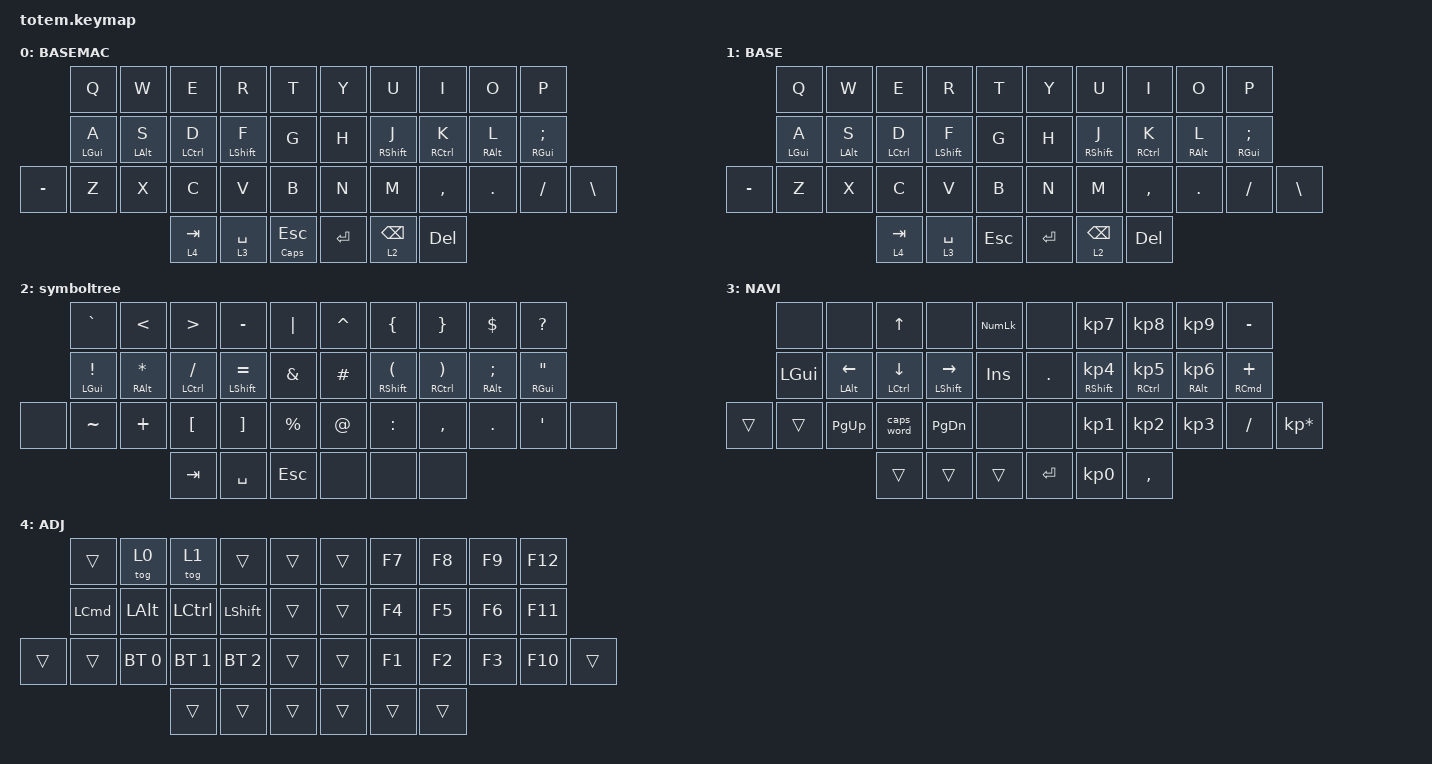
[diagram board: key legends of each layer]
//
//                                                        ▀▀▀▀▀     ▀▀▀▀▀          ▀▀█▀▀
//                                                        ▄▀▀▀▄  ▄  ▄▀▀▀▄  ▄  ▄▀▀▀▄  █  ▄▀▀▀▄
//                                                        █   █  █  █   █  █  █   █  █  █   █
//                                                         ▀▀▀   █   ▀▀▀   █   ▀▀▀   ▀   ▀▀▀
//                                                               █      ▄▄▄█▄▄▄    █   █  
//                                                               ▀      █  █  █     █▄█
//                                                             ▀▀▀▀▀    █  █  █      ▀
//                                                                      ▀  ▀  ▀
//
// ▄▄▄▄▄▄▄▄▄▄▄▄▄▄▄▄▄▄▄▄▄▄▄▄▄▄▄▄▄▄▄▄▄▄▄▄▄▄▄▄▄▄▄▄▄▄▄▄▄▄▄▄▄▄▄▄▄▄▄▄▄▄▄▄▄▄▄▄▄▄▄▄▄▄▄▄▄▄▄▄▄▄▄▄▄▄▄▄▄▄▄▄▄▄▄▄▄▄▄▄▄▄▄▄▄▄▄▄▄▄▄▄▄▄▄▄▄▄▄▄▄▄▄▄▄▄▄▄▄▄▄▄▄▄▄▄▄▄▄▄▄▄▄▄▄▄▄▄▄

#include <behaviors.dtsi>
#include <dt-bindings/zmk/bt.h>
#include <dt-bindings/zmk/keys.h>

#define BASE 0
#define NAV  1
#define SYM  2
#define ADJ  3
#define TVP1 4
#define TVP2 5

&mt {
    quick-tap-ms = <175>;
    global-quick-tap;
    flavor = "balanced";
    tapping-term-ms = <280>;
    require-prior-idle-ms = <150>;
};

&lt { flavor = "hold-preferred"; };

/ {
    combos {
        compatible = "zmk,combos";

        copyy {
            bindings = <&copys>;
            key-positions = <22 23>;
            layers = <0>;
        };

        ppaste {
            bindings = <&pastes>;
            key-positions = <23 24>;
            layers = <0>;
        };

        windcop {
            bindings = <&copWInd>;
            key-positions = <22 23>;
            layers = <1>;
        };

        dinpst {
            bindings = <&pstWind>;
            key-positions = <24 23>;
            layers = <1>;
        };
    };

    macros {
        copys: cpy {
            compatible = "zmk,behavior-macro";
            #binding-cells = <0>;
            bindings = <&kp LG(C)>;
        };

        pastes: pst {
            compatible = "zmk,behavior-macro";
            #binding-cells = <0>;
            bindings = <&kp LG(V)>;
        };

        copWInd: copWInd {
            compatible = "zmk,behavior-macro";
            #binding-cells = <0>;
            bindings = <&kp LC(C)>;
            label = "COPWIND";
        };

        pstWind: pstWind {
            compatible = "zmk,behavior-macro";
            #binding-cells = <0>;
            bindings = <&kp LC(V)>;
            label = "PSTWIND";
        };
    };

    behaviors {
        left_hrm: left_hrm {
            compatible = "zmk,behavior-hold-tap";
            bindings = <&kp>, <&kp>;

            #binding-cells = <2>;
            tapping-term-ms = <280>;
            quick-tap-ms = <175>;
            require-prior-idle-ms = <125>;
            flavor = "balanced";
            hold-trigger-on-release;
            hold-trigger-key-positions = <35 36 37 34 33 32 5 6 8 9 15 16 17 18 19 26 27 28 29 30 31 35 36 37 7>;
        };

        right_hmr: right_hmr {
            compatible = "zmk,behavior-hold-tap";
            bindings = <&kp>, <&kp>;

            #binding-cells = <2>;
            tapping-term-ms = <280>;
            quick-tap-ms = <175>;
            require-prior-idle-ms = <125>;
            flavor = "balanced";
            hold-trigger-on-release;
            hold-trigger-key-positions = <32 33 34 35 36 37 0 1 2 3 4 10 11 12 13 14 20 21 22 23 24 25 32 33 34>;
        };

        new_behavior: new_behavior {
            compatible = "zmk,behavior-hold-tap";
            bindings = <&kp>, <&kp>;

            #binding-cells = <2>;
            tapping-term-ms = <280>;
            quick-tap-ms = <175>;
            require-prior-idle-ms = <125>;
            flavor = "balanced";
            hold-trigger-on-release;
            hold-trigger-key-positions = <35 36 37 34 33 32 5 6 8 9 15 16 17 18 19 26 27 28 29 30 31 35 36 37 7>;
            label = "NEW_BEHAVIOR";
        };
    };

    keymap {
        compatible = "zmk,keymap";

        // ▄▄▄▄▄▄▄▄▄▄▄▄▄▄▄▄▄▄▄▄▄▄▄▄▄▄▄▄▄▄▄▄▄▄▄▄▄▄▄▄▄▄▄▄▄▄▄▄▄▄▄▄▄▄▄▄▄▄▄▄▄▄▄▄▄▄▄▄▄▄▄▄▄▄▄▄▄▄▄▄▄▄▄▄▄▄▄▄▄▄▄▄▄▄▄▄▄▄▄▄▄▄▄▄▄▄▄▄▄▄▄▄▄▄▄▄▄▄▄▄▄▄▄▄▄▄▄▄▄▄▄▄▄▄▄▄▄▄▄▄▄▄▄▄▄▄▄▄▄

        base_mac {
            // ┏━━━━━━━━━━━━━━━━━━━━━━━━━━━━━━━━━━━━━━━┓

            display-name = "BASEMAC";

            // ┗━━━━━━━━━━━━━━━━━━━━━━━━━━━━━━━━━━━━━━━┛
            //             ┏━━━━━━━━━━━┳━━━━━━━━━━━┳━━━━━━━━━━━┳━━━━━━━━━━━┳━━━━━━━━━━━┓   ┏━━━━━━━━━━━┳━━━━━━━━━━━┳━━━━━━━━━━━┳━━━━━━━━━━━┳━━━━━━━━━━━┓
            //             ┃     Q     ┃     W     ┃     F     ┃     P     ┃     G     ┃   ┃     J     ┃     L     ┃     U     ┃     Y     ┃     ;     ┃
            //             ┣━━━━━━━━━━━╋━━━━━━━━━━━╋━━━━━━━━━━━╋━━━━━━━━━━━╋━━━━━━━━━━━┫   ┣━━━━━━━━━━━╋━━━━━━━━━━━╋━━━━━━━━━━━╋━━━━━━━━━━━╋━━━━━━━━━━━┫
            //             ┃     A     ┃     R     ┃     S     ┃     T     ┃     D     ┃   ┃     H     ┃     N     ┃     E     ┃     I     ┃     O     ┃
            // ┏━━━━━━━━━━━╋━━━━━━━━━━━╋━━━━━━━━━━━╋━━━━━━━━━━━╋━━━━━━━━━━━╋━━━━━━━━━━━┫   ┣━━━━━━━━━━━╋━━━━━━━━━━━╋━━━━━━━━━━━╋━━━━━━━━━━━╋━━━━━━━━━━━╋━━━━━━━━━━━┓
            // ┃     Q     ┃     Z     ┃     X     ┃     C     ┃     V     ┃     B     ┃   ┃     K     ┃     M     ┃     ,     ┃     .     ┃     /     ┃     \     ┃
            // ┗━━━━━━━━━━━┻━━━━━━━━━━━┻━━━━━━━━━━━╋━━━━━━━━━━━╋━━━━━━━━━━━╋━━━━━━━━━━━┫   ┣━━━━━━━━━━━╋━━━━━━━━━━━╋━━━━━━━━━━━╋━━━━━━━━━━━┻━━━━━━━━━━━┻━━━━━━━━━━━┛
            //                                     ┃    DEL    ┃    TAB    ┃    SPC    ┃   ┃   ENTER   ┃           ┃   BSPC    ┃
            //                                     ┗━━━━━━━━━━━┻━━━━━━━━━━━┻━━━━━━━━━━━┛   ┗━━━━━━━━━━━┻━━━━━━━━━━━┻━━━━━━━━━━━┛

            bindings = <
           &kp Q             &kp W             &kp E              &kp R              &kp T                  &kp Y      &kp U               &kp I               &kp O              &kp P
           &left_hrm LGUI A  &left_hrm LALT S  &left_hrm LCTRL D  &left_hrm LSHFT F  &kp G                  &kp H      &right_hmr RSHFT J  &right_hmr RCTRL K  &right_hmr RALT L  &right_hmr RGUI SEMICOLON
&kp MINUS  &kp Z             &kp X             &kp C              &kp V              &kp B                  &kp N      &kp M               &kp COMMA           &kp DOT            &kp FSLH                   &kp BSLH
                                               &lt 4 TAB          &lt 3 SPACE        &mt CAPSLOCK ESCAPE    &kp ENTER  &lt 2 BACKSPACE     &kp DEL
            >;
        };

        base_windows {
            display-name = "BASE";
            bindings = <
           &kp Q             &kp W             &kp E              &kp R              &kp T         &kp Y      &kp U               &kp I               &kp O              &kp P
           &left_hrm LGUI A  &left_hrm LALT S  &left_hrm LCTRL D  &left_hrm LSHFT F  &kp G         &kp H      &right_hmr RSHFT J  &right_hmr RCTRL K  &right_hmr RALT L  &right_hmr RGUI SEMICOLON
&kp MINUS  &kp Z             &kp X             &kp C              &kp V              &kp B         &kp N      &kp M               &kp COMMA           &kp DOT            &kp FSLH                   &kp BSLH
                                               &lt 4 TAB          &lt 3 SPACE        &kp ESCAPE    &kp ENTER  &lt 2 BACKSPACE     &kp DELETE
            >;
        };

        symboltree {
            bindings = <
       &kp GRAVE                &kp LT                    &kp GT                        &kp MINUS                   &kp PIPE         &kp CARET  &kp LEFT_BRACE                           &kp RIGHT_BRACE                             &kp DOLLAR                      &kp QUESTION
       &left_hrm LEFT_GUI EXCL  &left_hrm RIGHT_ALT STAR  &left_hrm LEFT_CONTROL SLASH  &left_hrm LEFT_SHIFT EQUAL  &kp AMPERSAND    &kp HASH   &right_hmr RIGHT_SHIFT LEFT_PARENTHESIS  &right_hmr RIGHT_CONTROL RIGHT_PARENTHESIS  &right_hmr RIGHT_ALT SEMICOLON  &right_hmr RIGHT_GUI DOUBLE_QUOTES
&none  &kp TILDE                &kp PLUS                  &kp LEFT_BRACKET              &kp RIGHT_BRACKET           &kp PERCENT      &kp AT     &kp COLON                                &kp COMMA                                   &kp DOT                         &kp APOSTROPHE                      &none
                                                          &kp TAB                       &kp SPACE                   &kp ESCAPE       &none      &none                                    &none
            >;
        };

        nav_layer {
            // ┏━━━━━━━━━━━━━━━━━━━━━━━━━━━━━━━━━━━━━━━┓

            display-name = "NAVI";

            // ┗━━━━━━━━━━━━━━━━━━━━━━━━━━━━━━━━━━━━━━━┛
            //             ┏━━━━━━━━━━━┳━━━━━━━━━━━┳━━━━━━━━━━━┳━━━━━━━━━━━┳━━━━━━━━━━━┓   ┏━━━━━━━━━━━┳━━━━━━━━━━━┳━━━━━━━━━━━┳━━━━━━━━━━━┳━━━━━━━━━━━┓
            //             ┃           ┃           ┃     UP    ┃           ┃     {     ┃   ┃     }     ┃     7     ┃     8     ┃     9     ┃     +     ┃
            //             ┣━━━━━━━━━━━╋━━━━━━━━━━━╋━━━━━━━━━━━╋━━━━━━━━━━━╋━━━━━━━━━━━┫   ┣━━━━━━━━━━━╋━━━━━━━━━━━╋━━━━━━━━━━━╋━━━━━━━━━━━╋━━━━━━━━━━━┫
            //             ┃   SHIFT   ┃   LEFT    ┃    DOWN   ┃   RIGHT   ┃     [     ┃   ┃     ]     ┃     4     ┃     5     ┃     6     ┃     -     ┃
            // ┏━━━━━━━━━━━╋━━━━━━━━━━━╋━━━━━━━━━━━╋━━━━━━━━━━━╋━━━━━━━━━━━╋━━━━━━━━━━━┫   ┣━━━━━━━━━━━╋━━━━━━━━━━━╋━━━━━━━━━━━╋━━━━━━━━━━━╋━━━━━━━━━━━╋━━━━━━━━━━━┓
            // ┃           ┃           ┃   P UP    ┃  C LOCK   ┃  P DOWN   ┃     (     ┃   ┃     )     ┃     1     ┃     2     ┃     3     ┃     *     ┃           ┃
            // ┗━━━━━━━━━━━┻━━━━━━━━━━━┻━━━━━━━━━━━╋━━━━━━━━━━━╋━━━━━━━━━━━╋━━━━━━━━━━━┫   ┣━━━━━━━━━━━╋━━━━━━━━━━━╋━━━━━━━━━━━╋━━━━━━━━━━━┻━━━━━━━━━━━┻━━━━━━━━━━━┛
            //                                     ┃           ┃    TAB    ┃    SPC    ┃   ┃    DEL    ┃     0     ┃           ┃
            //                                     ┗━━━━━━━━━━━┻━━━━━━━━━━━┻━━━━━━━━━━━┛   ┗━━━━━━━━━━━┻━━━━━━━━━━━┻━━━━━━━━━━━┛

            bindings = <
        &none         &none                &kp UP                             &none                       &kp KP_NUMLOCK    &none      &kp KP_N7                           &kp KP_N8                       &kp KP_N9                         &kp MINUS
        &kp LEFT_GUI  &left_hrm LALT LEFT  &left_hrm LEFT_CONTROL DOWN_ARROW  &left_hrm LEFT_SHIFT RIGHT  &kp INSERT        &kp DOT    &right_hmr RIGHT_SHIFT KP_NUMBER_4  &right_hmr RIGHT_CONTROL KP_N5  &right_hmr RIGHT_ALT KP_NUMBER_6  &right_hmr RIGHT_COMMAND PLUS
&trans  &trans        &kp PG_UP            &caps_word                         &kp PG_DN                   &none             &none      &kp KP_N1                           &kp KP_N2                       &kp KP_N3                         &kp SLASH                      &kp KP_MULTIPLY
                                           &trans                             &trans                      &trans            &kp ENTER  &kp KP_N0                           &kp COMMA
            >;
        };

        functionLayer {
            // ┏━━━━━━━━━━━━━━━━━━━━━━━━━━━━━━━━━━━━━━━┓

            display-name = "ADJ";

            // ┗━━━━━━━━━━━━━━━━━━━━━━━━━━━━━━━━━━━━━━━┛
            //             ┏━━━━━━━━━━━┳━━━━━━━━━━━┳━━━━━━━━━━━┳━━━━━━━━━━━┳━━━━━━━━━━━┓   ┏━━━━━━━━━━━┳━━━━━━━━━━━┳━━━━━━━━━━━┳━━━━━━━━━━━┳━━━━━━━━━━━┓
            //             ┃   RESET   ┃ BT CLEAR  ┃  OUT TOG  ┃           ┃           ┃   ┃           ┃    F7     ┃    F8     ┃    F9     ┃    F12    ┃
            //             ┣━━━━━━━━━━━╋━━━━━━━━━━━╋━━━━━━━━━━━╋━━━━━━━━━━━╋━━━━━━━━━━━┫   ┣━━━━━━━━━━━╋━━━━━━━━━━━╋━━━━━━━━━━━╋━━━━━━━━━━━╋━━━━━━━━━━━┫
            //             ┃ BOOTLOAD  ┃ BT NEXT   ┃           ┃           ┃           ┃   ┃           ┃    F4     ┃    F5     ┃    F6     ┃    F11    ┃
            // ┏━━━━━━━━━━━╋━━━━━━━━━━━╋━━━━━━━━━━━╋━━━━━━━━━━━╋━━━━━━━━━━━╋━━━━━━━━━━━┫   ┣━━━━━━━━━━━╋━━━━━━━━━━━╋━━━━━━━━━━━╋━━━━━━━━━━━╋━━━━━━━━━━━╋━━━━━━━━━━━┓
            // ┃           ┃           ┃ BT PREV   ┃           ┃           ┃           ┃   ┃           ┃    F1     ┃    F2     ┃    F3     ┃    F10    ┃           ┃
            // ┗━━━━━━━━━━━┻━━━━━━━━━━━┻━━━━━━━━━━━╋━━━━━━━━━━━╋━━━━━━━━━━━╋━━━━━━━━━━━┫   ┣━━━━━━━━━━━╋━━━━━━━━━━━╋━━━━━━━━━━━╋━━━━━━━━━━━┻━━━━━━━━━━━┻━━━━━━━━━━━┛
            //                                     ┃           ┃           ┃           ┃   ┃           ┃           ┃           ┃
            //                                     ┗━━━━━━━━━━━┻━━━━━━━━━━━┻━━━━━━━━━━━┛   ┗━━━━━━━━━━━┻━━━━━━━━━━━┻━━━━━━━━━━━┛

            bindings = <
        &trans            &tog 0        &tog 1            &trans          &trans    &trans  &kp F7  &kp F8  &kp F9  &kp F12
        &kp LEFT_COMMAND  &kp LEFT_ALT  &kp LEFT_CONTROL  &kp LEFT_SHIFT  &trans    &trans  &kp F4  &kp F5  &kp F6  &kp F11
&trans  &trans            &bt BT_SEL 0  &bt BT_SEL 1      &bt BT_SEL 2    &trans    &trans  &kp F1  &kp F2  &kp F3  &kp F10  &trans
                                        &trans            &trans          &trans    &trans  &trans  &trans
            >;
        };
    };
};
